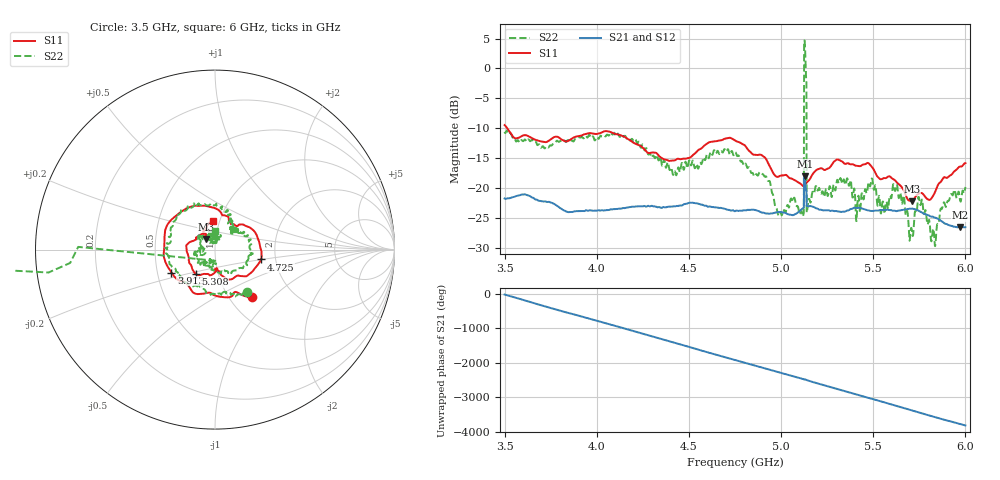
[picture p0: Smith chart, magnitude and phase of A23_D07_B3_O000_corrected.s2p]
! Created with skrf 1.9.0 (http://scikit-rf.org).
# Hz S RI R 50.0
!freq ReS11 ImS11 ReS21 ImS21 ReS12 ImS12 ReS22 ImS22
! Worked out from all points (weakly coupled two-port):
!   1601 points, 3.5 GHz to 6 GHz, reference 50 ohm
!   highest |S21| = -18.01 dB at 5.128 GHz (marker M1); lowest = -26.6 dB at 5.973 GHz (marker M2)
!   lowest |S11| = -22.2 dB at 5.711 GHz (marker M3), VSWR 1.17, Z = 44.9 + j5.3 ohm
!   |S11| at or under -10 dB: 3.514 GHz to end of sweep
!   |S22| runs from -29.7 to 4.7 dB; largest |S21 - S12| = 0.00097
!   S11 on the Smith chart (normalised r, x): 3.5 GHz: 1.27, -0.76; 3.913 GHz: 0.59, -0.16; 4.725 GHz: 1.68, -0.20; 5.308 GHz: 0.78, -0.22; 6 GHz: 0.93, +0.31
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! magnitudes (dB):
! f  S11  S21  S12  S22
! 3.5 GHz  -9.5  -21.7  -21.7  -10.6
! 3.913 GHz  -11.2  -23.9  -23.8  -11.6
! 3.917 GHz  -11.2  -23.9  -23.8  -11.5
! 4.334 GHz  -14.5  -23.2  -23.1  -15.4
! 4.725 GHz  -11.6  -23.8  -23.7  -14.3
! 4.75 GHz  -12.0  -23.9  -23.8  -14.0
! 4.928 GHz  -15.7  -24.3  -24.2  -18.8
! 4.992 GHz  -18.0  -24.0  -24.0  -24.4
! 5.111 GHz  -19.4  -23.6  -23.5  -23.8
! 5.128 GHz  -19.5  -18.0  -18.0  4.6
! 5.138 GHz  -19.1  -20.5  -20.4  -2.4
! 5.152 GHz  -18.7  -23.0  -23.0  -21.9
! 5.167 GHz  -17.9  -23.1  -23.0  -21.0
! 5.308 GHz  -15.2  -23.9  -23.8  -18.7
! 5.417 GHz  -16.3  -23.3  -23.4  -21.6
! 5.584 GHz  -18.0  -23.7  -23.6  -22.5
! 5.62 GHz  -18.8  -23.8  -23.8  -20.4
! 5.711 GHz  -22.2  -23.4  -23.4  -27.4
! 5.753 GHz  -20.9  -23.9  -23.9  -22.5
! 5.827 GHz  -21.2  -24.8  -24.8  -26.8
! 5.973 GHz  -16.4  -26.6  -26.5  -22.3
! 6 GHz  -15.8  -26.5  -26.5  -19.8
